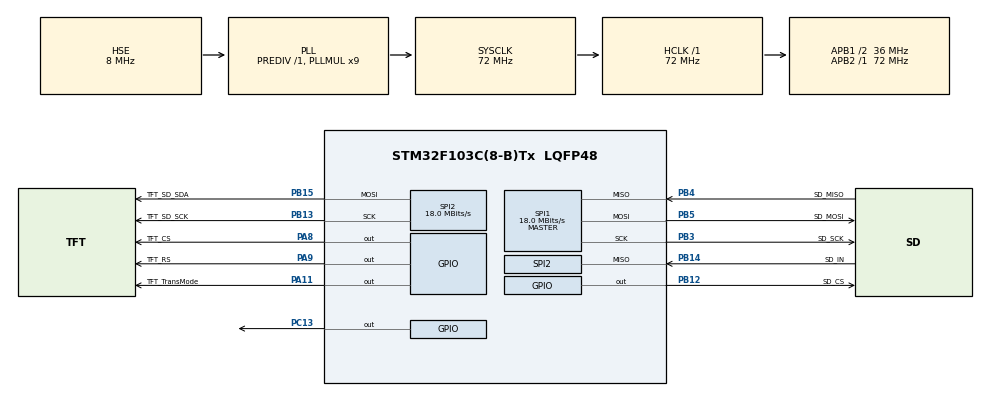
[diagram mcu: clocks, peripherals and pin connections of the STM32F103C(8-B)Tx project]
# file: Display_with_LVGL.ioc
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Dma.Request0=SPI1_RX
Dma.Request1=SPI1_TX
Dma.Request2=SPI2_RX
Dma.Request3=SPI2_TX
Dma.SPI1_RX.0.Direction=DMA_PERIPH_TO_MEMORY
Dma.SPI1_RX.0.Instance=DMA1_Channel2
Dma.SPI1_RX.0.MemDataAlignment=DMA_MDATAALIGN_BYTE
Dma.SPI1_RX.0.MemInc=DMA_MINC_ENABLE
Dma.SPI1_RX.0.Mode=DMA_NORMAL
Dma.SPI1_RX.0.PeriphDataAlignment=DMA_PDATAALIGN_BYTE
Dma.SPI1_RX.0.PeriphInc=DMA_PINC_DISABLE
Dma.SPI1_RX.0.Priority=DMA_PRIORITY_LOW
Dma.SPI1_TX.1.Direction=DMA_MEMORY_TO_PERIPH
Dma.SPI1_TX.1.Instance=DMA1_Channel3
Dma.SPI1_TX.1.MemDataAlignment=DMA_MDATAALIGN_BYTE
Dma.SPI1_TX.1.MemInc=DMA_MINC_ENABLE
Dma.SPI1_TX.1.Mode=DMA_NORMAL
Dma.SPI1_TX.1.PeriphDataAlignment=DMA_PDATAALIGN_BYTE
Dma.SPI1_TX.1.PeriphInc=DMA_PINC_DISABLE
Dma.SPI1_TX.1.Priority=DMA_PRIORITY_LOW
Dma.SPI2_RX.2.Direction=DMA_PERIPH_TO_MEMORY
Dma.SPI2_RX.2.Instance=DMA1_Channel4
Dma.SPI2_RX.2.MemDataAlignment=DMA_MDATAALIGN_BYTE
Dma.SPI2_RX.2.MemInc=DMA_MINC_ENABLE
Dma.SPI2_RX.2.Mode=DMA_NORMAL
Dma.SPI2_RX.2.PeriphDataAlignment=DMA_PDATAALIGN_BYTE
Dma.SPI2_RX.2.PeriphInc=DMA_PINC_DISABLE
Dma.SPI2_RX.2.Priority=DMA_PRIORITY_LOW
Dma.SPI2_TX.3.Direction=DMA_MEMORY_TO_PERIPH
Dma.SPI2_TX.3.Instance=DMA1_Channel5
Dma.SPI2_TX.3.MemDataAlignment=DMA_MDATAALIGN_BYTE
Dma.SPI2_TX.3.MemInc=DMA_MINC_ENABLE
Dma.SPI2_TX.3.Mode=DMA_NORMAL
Dma.SPI2_TX.3.PeriphDataAlignment=DMA_PDATAALIGN_BYTE
Dma.SPI2_TX.3.PeriphInc=DMA_PINC_DISABLE
Dma.SPI2_TX.3.Priority=DMA_PRIORITY_LOW
FATFS._MAX_SS=4096
FATFS._USE_LABEL=1
FATFS._USE_LFN=3
IWDG.Prescaler=IWDG_PRESCALER_64
Mcu.Family=STM32F1
Mcu.Name=STM32F103C(8-B)Tx
Mcu.Package=LQFP48
NVIC.DMA1_Channel2_IRQn=true\:0\:0\:false\:false\:true\:false\:true\:true
NVIC.DMA1_Channel3_IRQn=true\:0\:0\:false\:false\:true\:false\:true\:true
NVIC.DMA1_Channel4_IRQn=true\:0\:0\:false\:false\:true\:false\:true\:true
NVIC.DMA1_Channel5_IRQn=true\:0\:0\:false\:false\:true\:false\:true\:true
NVIC.PriorityGroup=NVIC_PRIORITYGROUP_4
PA11.GPIO_Label=TFT_TransMode
PA11.Signal=GPIO_Output
PA13.Mode=Serial_Wire
PA13.Signal=SYS_JTMS-SWDIO
PA14.Mode=Serial_Wire
PA14.Signal=SYS_JTCK-SWCLK
PA8.GPIO_Label=TFT_CS
PA8.Signal=GPIO_Output
PA9.GPIO_Label=TFT_RS
PA9.Signal=GPIO_Output
PB12.GPIO_Label=SD_CS
PB12.PinState=GPIO_PIN_SET
PB12.Signal=GPIO_Output
PB13.GPIO_Label=TFT_SD_SCK
PB13.Mode=Full_Duplex_Master
PB13.Signal=SPI2_SCK
PB14.GPIO_Label=SD_IN
PB14.Mode=Full_Duplex_Master
PB14.Signal=SPI2_MISO
PB15.GPIO_Label=TFT_SD_SDA
PB15.Mode=Full_Duplex_Master
PB15.Signal=SPI2_MOSI
PB3.GPIO_Label=SD_SCK
PB3.Mode=Full_Duplex_Master
PB3.Signal=SPI1_SCK
PB4.GPIO_Label=SD_MISO
PB4.Mode=Full_Duplex_Master
PB4.Signal=SPI1_MISO
PB5.GPIO_Label=SD_MOSI
PB5.Mode=Full_Duplex_Master
PB5.Signal=SPI1_MOSI
PC13-TAMPER-RTC.Signal=GPIO_Output
PD0-OSC_IN.Mode=HSE-External-Oscillator
PD0-OSC_IN.Signal=RCC_OSC_IN
PD1-OSC_OUT.Mode=HSE-External-Oscillator
PD1-OSC_OUT.Signal=RCC_OSC_OUT
ProjectManager.HeapSize=0x200
ProjectManager.StackSize=0x400
ProjectManager.TargetToolchain=CMake
RCC.AHBFreq_Value=72000000
RCC.APB1CLKDivider=RCC_HCLK_DIV2
RCC.APB1Freq_Value=36000000
RCC.APB1TimFreq_Value=72000000
RCC.APB2Freq_Value=72000000
RCC.APB2TimFreq_Value=72000000
RCC.HCLKFreq_Value=72000000
RCC.PLLMUL=RCC_PLL_MUL9
RCC.PLLSourceVirtual=RCC_PLLSOURCE_HSE
RCC.SYSCLKFreq_VALUE=72000000
RCC.SYSCLKSource=RCC_SYSCLKSOURCE_PLLCLK
RCC.USBFreq_Value=72000000
SPI1.BaudRatePrescaler=SPI_BAUDRATEPRESCALER_4
SPI1.CalculateBaudRate=18.0 MBits/s
SPI1.Direction=SPI_DIRECTION_2LINES
SPI1.Mode=SPI_MODE_MASTER
SPI1.VirtualType=VM_MASTER
SPI2.CalculateBaudRate=18.0 MBits/s
SPI2.Direction=SPI_DIRECTION_2LINES
SPI2.Mode=SPI_MODE_MASTER
SPI2.VirtualType=VM_MASTER
VP_FATFS_VS_Generic.Mode=User_defined
VP_IWDG_VS_IWDG.Mode=IWDG_Activate
board=custom

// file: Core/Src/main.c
/* USER CODE BEGIN Header */
/**
  ******************************************************************************
  * @file           : main.c
  * @brief          : Main program body
  ******************************************************************************
  * @attention
  *
  * Copyright (c) 2025 STMicroelectronics.
  * All rights reserved.
  *
  * This software is licensed under terms that can be found in the LICENSE file
  * in the root directory of this software component.
  * If no LICENSE file comes with this software, it is provided AS-IS.
  *
  ******************************************************************************
  */
/* USER CODE END Header */
#include "main.h"
#include "fatfs.h"

/* USER CODE BEGIN Includes */
#include "sd_functions.h"
#include "string.h"
#include "ST7735_display.h"
#include "lvgl.h"
/* USER CODE END Includes */

/* USER CODE BEGIN PD */
#define IWDGG 0

/* USER CODE END PD */

IWDG_HandleTypeDef hiwdg;

SPI_HandleTypeDef hspi1;
SPI_HandleTypeDef hspi2;
DMA_HandleTypeDef hdma_spi1_rx;
DMA_HandleTypeDef hdma_spi1_tx;
DMA_HandleTypeDef hdma_spi2_rx;
DMA_HandleTypeDef hdma_spi2_tx;

/* USER CODE BEGIN PV */

uint8_t FPS = 0;
uint32_t cnt = 0;
uint32_t my_time_TFT = 0;
uint32_t frame_num = 0;

/* USER CODE END PV */

void SystemClock_Config(void);
static void MX_GPIO_Init(void);
static void MX_DMA_Init(void);
static void MX_IWDG_Init(void);
static void MX_SPI1_Init(void);
static void MX_SPI2_Init(void);
/* USER CODE BEGIN PFP */

uint8_t Check_FPS(uint32_t time){
  if( ( cnt + time) > HAL_GetTick()){
     return 0;
  }
  else{
    cnt = HAL_GetTick();
    return 1;
  }
}

/* USER CODE END PFP */

int main(void)
{

  /* USER CODE BEGIN 1 */
  FIL f;
  uint8_t video_state = 1;
  /* USER CODE END 1 */

  /* MCU Configuration--------------------------------------------------------*/

  /* Reset of all peripherals, Initializes the Flash interface and the Systick. */
  HAL_Init();

  /* Configure the system clock */
  SystemClock_Config();

  /* Initialize all configured peripherals */
  MX_GPIO_Init();
  MX_DMA_Init();
  // MX_IWDG_Init();
  MX_SPI1_Init();
  MX_SPI2_Init();
  /* USER CODE BEGIN 2 */

  lv_init();
//  ST7735_Init(1);
//  ST7735_FillScreen(0xf800,159,127);
////   //Allocate_video_buffer(&Frame_bufferA, &Frame_bufferB);
////   HAL_GPIO_WritePin(TFT_CS_GPIO_Port, TFT_CS_Pin, GPIO_PIN_SET);
//
//  while (1)
//  {
//    if (sd_mount() == FR_OK)
//    {
//#if IWDGG
//      HAL_IWDG_Refresh(&hiwdg);
//#endif
//      break;
//    }
//  }
// // Open raw video to display
//   while (1)
//   {
//     if (f_open(&f,"family_guy_ep1_rgb565_120s_be_160x128.rgb",FA_READ) == FR_OK)
//     {
// #if IWDGG
//       HAL_IWDG_Refresh(&hiwdg);
// #endif
//       break;
//     }
//   }

  Display_BMP_picture("image2_rgb565_160x128.bmp");
  /* USER CODE END 2 */

  /* Infinite loop */
  /* USER CODE BEGIN WHILE */
  while (1)
  {
    // cnt = HAL_GetTick();
    // if( video_state ){
    //   video_state = processing(&f ,&frame_num);
    //   my_time_TFT = HAL_GetTick() - cnt;
    //   FPS = 1000 / my_time_TFT;
    // }
    // else{
    //   ST7735_FillScreen(0xf800,159,127);
    //   frame_num = 0;
    // }

    /* USER CODE END WHILE */

  }
}

void SystemClock_Config(void)
{
  RCC_OscInitTypeDef RCC_OscInitStruct = {0};
  RCC_ClkInitTypeDef RCC_ClkInitStruct = {0};

  /** Initializes the RCC Oscillators according to the specified parameters
  * in the RCC_OscInitTypeDef structure.
  */
  RCC_OscInitStruct.OscillatorType = RCC_OSCILLATORTYPE_LSI|RCC_OSCILLATORTYPE_HSE;
  RCC_OscInitStruct.HSEState = RCC_HSE_ON;
  RCC_OscInitStruct.HSEPredivValue = RCC_HSE_PREDIV_DIV1;
  RCC_OscInitStruct.HSIState = RCC_HSI_ON;
  RCC_OscInitStruct.LSIState = RCC_LSI_ON;
  RCC_OscInitStruct.PLL.PLLState = RCC_PLL_ON;
  RCC_OscInitStruct.PLL.PLLSource = RCC_PLLSOURCE_HSE;
  RCC_OscInitStruct.PLL.PLLMUL = RCC_PLL_MUL9;
  if (HAL_RCC_OscConfig(&RCC_OscInitStruct) != HAL_OK)
  {
    Error_Handler();
  }

  /** Initializes the CPU, AHB and APB buses clocks
  */
  RCC_ClkInitStruct.ClockType = RCC_CLOCKTYPE_HCLK|RCC_CLOCKTYPE_SYSCLK
                              |RCC_CLOCKTYPE_PCLK1|RCC_CLOCKTYPE_PCLK2;
  RCC_ClkInitStruct.SYSCLKSource = RCC_SYSCLKSOURCE_PLLCLK;
  RCC_ClkInitStruct.AHBCLKDivider = RCC_SYSCLK_DIV1;
  RCC_ClkInitStruct.APB1CLKDivider = RCC_HCLK_DIV2;
  RCC_ClkInitStruct.APB2CLKDivider = RCC_HCLK_DIV1;

  if (HAL_RCC_ClockConfig(&RCC_ClkInitStruct, FLASH_LATENCY_2) != HAL_OK)
  {
    Error_Handler();
  }
}

static void MX_IWDG_Init(void)
{

  hiwdg.Instance = IWDG;
  hiwdg.Init.Prescaler = IWDG_PRESCALER_64;
  hiwdg.Init.Reload = 4095;
  if (HAL_IWDG_Init(&hiwdg) != HAL_OK)
  {
    Error_Handler();
  }

}

static void MX_SPI1_Init(void)
{

  /* SPI1 parameter configuration*/
  hspi1.Instance = SPI1;
  hspi1.Init.Mode = SPI_MODE_MASTER;
  hspi1.Init.Direction = SPI_DIRECTION_2LINES;
  hspi1.Init.DataSize = SPI_DATASIZE_8BIT;
  hspi1.Init.CLKPolarity = SPI_POLARITY_LOW;
  hspi1.Init.CLKPhase = SPI_PHASE_1EDGE;
  hspi1.Init.NSS = SPI_NSS_SOFT;
  hspi1.Init.BaudRatePrescaler = SPI_BAUDRATEPRESCALER_4;
  hspi1.Init.FirstBit = SPI_FIRSTBIT_MSB;
  hspi1.Init.TIMode = SPI_TIMODE_DISABLE;
  hspi1.Init.CRCCalculation = SPI_CRCCALCULATION_DISABLE;
  hspi1.Init.CRCPolynomial = 10;
  if (HAL_SPI_Init(&hspi1) != HAL_OK)
  {
    Error_Handler();
  }

}

static void MX_SPI2_Init(void)
{

  /* SPI2 parameter configuration*/
  hspi2.Instance = SPI2;
  hspi2.Init.Mode = SPI_MODE_MASTER;
  hspi2.Init.Direction = SPI_DIRECTION_2LINES;
  hspi2.Init.DataSize = SPI_DATASIZE_8BIT;
  hspi2.Init.CLKPolarity = SPI_POLARITY_LOW;
  hspi2.Init.CLKPhase = SPI_PHASE_1EDGE;
  hspi2.Init.NSS = SPI_NSS_SOFT;
  hspi2.Init.BaudRatePrescaler = SPI_BAUDRATEPRESCALER_2;
  hspi2.Init.FirstBit = SPI_FIRSTBIT_MSB;
  hspi2.Init.TIMode = SPI_TIMODE_DISABLE;
  hspi2.Init.CRCCalculation = SPI_CRCCALCULATION_DISABLE;
  hspi2.Init.CRCPolynomial = 10;
  if (HAL_SPI_Init(&hspi2) != HAL_OK)
  {
    Error_Handler();
  }

}

static void MX_DMA_Init(void)
{

  /* DMA controller clock enable */
  __HAL_RCC_DMA1_CLK_ENABLE();

  /* DMA interrupt init */
  /* DMA1_Channel2_IRQn interrupt configuration */
  HAL_NVIC_SetPriority(DMA1_Channel2_IRQn, 0, 0);
  HAL_NVIC_EnableIRQ(DMA1_Channel2_IRQn);
  /* DMA1_Channel3_IRQn interrupt configuration */
  HAL_NVIC_SetPriority(DMA1_Channel3_IRQn, 0, 0);
  HAL_NVIC_EnableIRQ(DMA1_Channel3_IRQn);
  /* DMA1_Channel4_IRQn interrupt configuration */
  HAL_NVIC_SetPriority(DMA1_Channel4_IRQn, 0, 0);
  HAL_NVIC_EnableIRQ(DMA1_Channel4_IRQn);
  /* DMA1_Channel5_IRQn interrupt configuration */
  HAL_NVIC_SetPriority(DMA1_Channel5_IRQn, 0, 0);
  HAL_NVIC_EnableIRQ(DMA1_Channel5_IRQn);

}

static void MX_GPIO_Init(void)
{
  GPIO_InitTypeDef GPIO_InitStruct = {0};

  /* GPIO Ports Clock Enable */
  __HAL_RCC_GPIOC_CLK_ENABLE();
  __HAL_RCC_GPIOD_CLK_ENABLE();
  __HAL_RCC_GPIOB_CLK_ENABLE();
  __HAL_RCC_GPIOA_CLK_ENABLE();

  /*Configure GPIO pin Output Level */
  HAL_GPIO_WritePin(GPIOC, GPIO_PIN_13, GPIO_PIN_RESET);

  /*Configure GPIO pin Output Level */
  HAL_GPIO_WritePin(SD_CS_GPIO_Port, SD_CS_Pin, GPIO_PIN_SET);

  /*Configure GPIO pin Output Level */
  HAL_GPIO_WritePin(GPIOA, TFT_CS_Pin|TFT_RS_Pin|TFT_TransMode_Pin, GPIO_PIN_RESET);

  /*Configure GPIO pin : PC13 */
  GPIO_InitStruct.Pin = GPIO_PIN_13;
  GPIO_InitStruct.Mode = GPIO_MODE_OUTPUT_PP;
  GPIO_InitStruct.Pull = GPIO_NOPULL;
  GPIO_InitStruct.Speed = GPIO_SPEED_FREQ_LOW;
  HAL_GPIO_Init(GPIOC, &GPIO_InitStruct);

  /*Configure GPIO pin : SD_CS_Pin */
  GPIO_InitStruct.Pin = SD_CS_Pin;
  GPIO_InitStruct.Mode = GPIO_MODE_OUTPUT_PP;
  GPIO_InitStruct.Pull = GPIO_NOPULL;
  GPIO_InitStruct.Speed = GPIO_SPEED_FREQ_LOW;
  HAL_GPIO_Init(SD_CS_GPIO_Port, &GPIO_InitStruct);

  /*Configure GPIO pins : TFT_CS_Pin TFT_RS_Pin TFT_TransMode_Pin */
  GPIO_InitStruct.Pin = TFT_CS_Pin|TFT_RS_Pin|TFT_TransMode_Pin;
  GPIO_InitStruct.Mode = GPIO_MODE_OUTPUT_PP;
  GPIO_InitStruct.Pull = GPIO_NOPULL;
  GPIO_InitStruct.Speed = GPIO_SPEED_FREQ_LOW;
  HAL_GPIO_Init(GPIOA, &GPIO_InitStruct);

}

void Error_Handler(void)
{
  __disable_irq();
  while (1)
  {
  }
}
